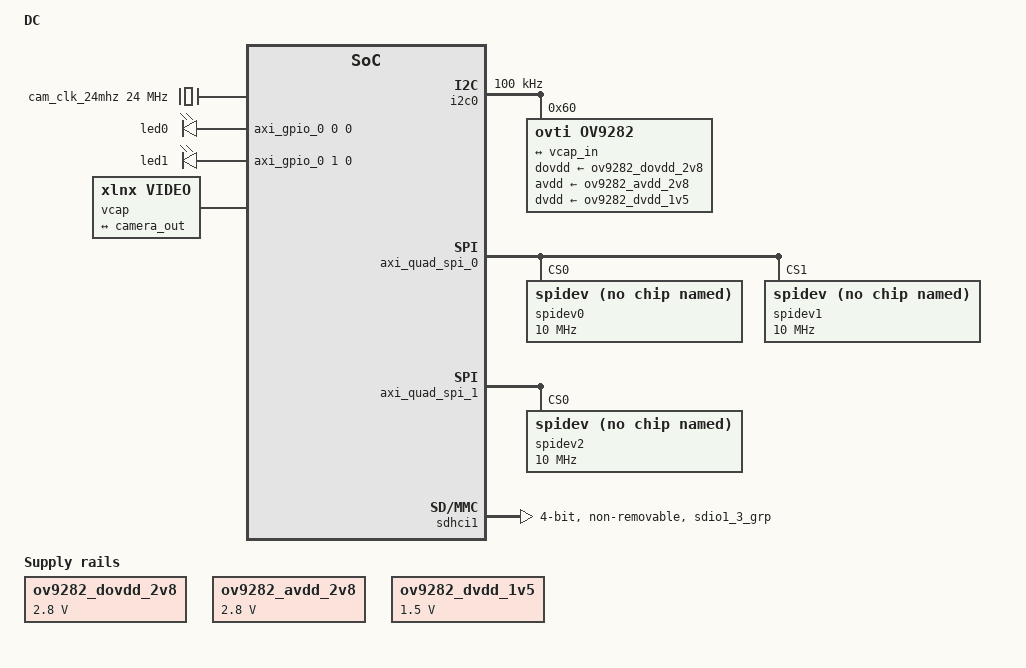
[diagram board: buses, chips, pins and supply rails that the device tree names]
#include "dt-bindings/gpio/gpio.h"
#include "dt-bindings/input/linux-event-codes.h"
/ {
    model = "DC";
	chosen {
		bootargs = "console=ttyPS0,115200 earlyprintk root=/dev/mmcblk0p2 rw rootwait debug";
		stdout-path = "serial0:115200n8";
	};

    usb_phy0: phy0@e0002000 {
		compatible = "ulpi-phy";
		#phy-cells = <0>;
		reg = <0xe0002000 0x1000>;
		view-port = <0x0170>;
		drv-vbus;
	};
    cam_clk_24mhz: cam_clk_24mhz {
                compatible = "fixed-clock";
                #clock-cells = <0>;
                clock-frequency = <24000000>; /* 24MHz */
                clock-output-names = "cam_clk_24mhz";
    };
	/* OV9282 专用固定电源：DOVDD 2.8V（数字I/O电压） */
    ov9282_dovdd_2v8: regulator-ov9282-dovdd {
        compatible = "regulator-fixed";  // 固定电压稳压器标识
        regulator-name = "OV9282_DOVDD_2V8";  // 电源名称（便于调试）
        regulator-min-microvolt = <2800000>;  // 最小电压：2.8V（转换为微伏）
        regulator-max-microvolt = <2800000>;  // 最大电压：2.8V（固定电压，与最小一致）
        regulator-boot-on;  // 系统启动时自动使能该电源
        regulator-always-on;  // 电源持续使能，避免摄像头掉电
    };

    /* OV9282 专用固定电源：AVDD 2.8V（模拟电压） */
    ov9282_avdd_2v8: regulator-ov9282-avdd {
        compatible = "regulator-fixed";
        regulator-name = "OV9282_AVDD_2V8";
        regulator-min-microvolt = <2800000>;
        regulator-max-microvolt = <2800000>;
        regulator-boot-on;
        regulator-always-on;
    };

    /* OV9282 专用固定电源：DVDD 1.5V（数字核心电压） */
    ov9282_dvdd_1v5: regulator-ov9282-dvdd {
        compatible = "regulator-fixed";
        regulator-name = "OV9282_DVDD_1V5";
        regulator-min-microvolt = <1500000>;  // 1.5V转换为微伏
        regulator-max-microvolt = <1500000>;
        regulator-boot-on;
        regulator-always-on;
    };
    leds {
        compatible = "gpio-leds";
        
        /* 第一个LED，使用GPIO0的第0个引脚 */
        led0 {
            label = "led0";
            gpios = <&axi_gpio_0 0 0 0>;  /* bank 0, 引脚0, 激活电平0 */
            linux,default-trigger = "heartbeat"; /* 可选：心跳效果 */
            max-brightness = <1>;
	    default-state = "on";
        };
        
        /* 第二个LED，使用GPIO0的第1个引脚 */
        led1 {
            label = "led1";
            gpios = <&axi_gpio_0 1 0 0>;  /* bank 0, 引脚1, 激活电平0 */
            linux,default-trigger = "mmc1"; /* 可选：心跳效果 */
	    max-brightness = <1>;
            default-state = "on";
        };
    };
};

// 1. 定义 pinctrl 控制器节点
// 注意：此节点可能已在你的设备树中存在，通常由硬件设计工具（如Vivado）生成。
// 你需要检查是否已包含，如果已存在，则只需添加第2部分的子节点。
//&slcr { // 假设 slcr 是 SLCR（系统级控制寄存器）的节点标签
//    pinctrl0: pinctrl@700 {
//        compatible = "xlnx,pinctrl-zynq"; // 必须的兼容性字符串[citation:1]
//        reg = <0x700 0x200>;             // 在 SLCR 中的偏移和长度[citation:1]
//        syscon = <&slcr>;                // 指向 SLCR 的 phandle[citation:1]
        // 注意：`syscon` 属性在部分内核版本/代码中可能非必需，请根据你的内核实际情况决定是否添加。

        // 2. 定义 I2C0 的引脚配置子节点
        // 此节点的标签（`pinctrl_i2c0_default`）将用于被 I2C 控制器引用。
        //pinctrl_i2c0_default: i2c0-default {
        //    // 配置 MIO10 和 MIO11 为 I2C0 功能
        //    mux {
        //        groups = "i2c0_0_grp"; // 使用引脚组
        //        function = "i2c0";     // 功能为 I2C0[citation:1]
        //    };
            // 配置引脚的电气参数（可选，但推荐设置以稳定通信）
        //    conf {
        //        groups = "i2c0_0_grp";
        //        slew-rate = <0>;       // 压摆率：0-慢，1-快。I2C建议用慢速（0）
        //        io-standard = <3>;     // IO电平标准：1-LVCMOS18, 2-LVCMOS25, 3-LVCMOS33[citation:1]
        //        bias-pull-up;          // 使能内部上拉（I2C总线通常需要上拉）
        //    };
        //};
	//pinctrl_sdio1_default: sdio1-default {
	//mux {
       	// 根据你的驱动源码，MIO46-51对应的组名为 'sdio1_3_grp'
       	//	groups = "sdio1_3_grp";
        //	function = "sdio1"; // 功能选择为 sdio1
    	//	};
    	//conf {
        //	groups = "sdio1_3_grp";
        	// 配置电气参数（参数值根据你的硬件需求调整）
        //	slew-rate = <0>;       // 压摆率：0-慢，1-快
        //	io-standard = <3>;     // IO电平标准：3-LVCMOS33
        	// bias-pull-up;       // 如需内部上拉，取消注释此行
    	//	};
	//};
//    };
//};

// 3. 将引脚配置应用到 I2C0 控制器
// 找到你的 I2C0 控制器节点（通常是 i2c@e0004000），并添加 pinctrl 引用。
//&i2c0 { // 使用控制器节点的标签
//    status = "okay";
//    clock-frequency = <100000>; // 设置 I2C 总线频率为 100kHz
//    pinctrl-names = "default";  // 状态名称
//    pinctrl-0 = <&pinctrl_i2c0_default>; // 引用上面定义的引脚配置
    // ... 其他配置，如从设备地址等
//};

&i2c0 {
	clock-frequency = <100000>;

    ov9282: camera@60 {
        compatible = "ovti,ov9282";
        reg = <0x60>;
        /* Use 64MHz XCLK for OV9282 DVP operation */
        clocks = <&cam_clk_24mhz>;
        clock-names = "xclk";
        /* Supply property names expected by many OV sensors/drivers */
        dovdd-supply = <&ov9282_dovdd_2v8>;  // 数字I/O：2.8V
        avdd-supply = <&ov9282_avdd_2v8>;    // 模拟电压：2.8V
        dvdd-supply = <&ov9282_dvdd_1v5>;    // 数字核心：1.5V
        port {
            camera_out: endpoint {
                remote-endpoint = <&vcap_in>;
                bus-type    = <5>;
                /* DVP 10-bit */
                bus-width   = <10>;
                /* Keep signal polarities and sample edge as before */
                hsync-active = <0>;
                vsync-active = <0>;
                pclk-sample  = <1>;
            };
        };
    };
};

&amba_pl {
	/* 视频捕获设备 - 连接Camera到VDMA的S2MM通道 */
    vcap {
        compatible = "xlnx,video";
        dmas = <&axi_vdma_0 1>;  
        dma-names = "port0";

        ports {
            #address-cells = <1>;
            #size-cells = <0>;
                port@0 {
                reg = <0>;
                direction = "input";
                vcap_in: endpoint {
                    remote-endpoint = <&camera_out>;
                    /* Match OV9282 DVP 10-bit */
                    bus-width = <10>;
		    bus-type    = <5>;
                };
            };
        };
	};
};

/* SPI devices: BMI088 on spi0, ADXL372 on spi1 */
&axi_quad_spi_0 {
   status = "okay";

    spidev0@0 {
         compatible = "spidev";
         reg = <0>;
         spi-max-frequency = <10000000>;
     };

    spidev1@1 {
         compatible = "spidev";
         reg = <1>;
         spi-max-frequency = <10000000>;
     };
    /* BMI088 IMU attached to SPI chip-select 0 */
//    bmi088_accel@0 {
//        compatible = "bosch,bmi088-accel";
//        reg = <0>;
        /* Typical supported SPI frequency; adjust if needed */
//        spi-max-frequency = <10000000>;
//	spi-cpol;
//        spi-cpha;
//        status = "okay";
//    };
//    bmi088_gyro@1 {
//        compatible = "bosch,bmi088-gyro";
//        reg = <1>; /* CS 编号 */
//        spi-max-frequency = <10000000>;
//        spi-cpol;
//        spi-cpha;
//        status = "okay";
//    };
};


&axi_quad_spi_1 {
    status = "okay";

    spidev2@0 {
         compatible = "spidev";
         reg = <0>;
         spi-max-frequency = <10000000>;
     };

    /* ADXL372 accelerometer attached to SPI chip-select 0 */
//    adxl372@0 {
//        compatible = "adi,adxl372";
//        reg = <0>;
//        spi-max-frequency = <20000000>;
//        status = "okay";
//    };
};

&video_mameger_1{
	interrupt-names = "vid2intc_irpt";
        interrupt-parent = <&intc>;
        interrupts = <0 29 1>;
};

&pinctrl0 {
	sdio1_default: sdio1-default {
            mux {
                groups = "sdio1_3_grp";
                function = "sdio1";
            };

            conf {
                groups = "sdio1_3_grp";
                bias-pull-up;
                low-power-enable;
		};
        };
	sdio1_cd_default: sdio1-cd-default{
		mux {
      			groups = "sdio1_emio_cd";
      			function = "sdio1_cd";
    		};
		conf {
			groups = "sdio1_emio_cd";
			low-power-enable;
		};
	};
};
&sdhci1 {
//    /* SDIO专用配置 */
    bus-width = <4>;                    /* 4位数据总线 */
    max-frequency = <50000000>;         /* 最大50MHz */
    non-removable;                      /* 非可移除设备 */
    xlnx,mio-bank = <1>;
//    xlnx,fails-without-test-cd;
    broken-cd;
    keep-power-in-suspend;
//    cap-sd-highspeed;                   /* 支持高速SD */
//    cap-mmc-highspeed;                  /* 支持高速MMC */
//    cap-sdio-irq;                       /* 支持SDIO中断 */
    disable-wp;                         /* 禁用写保护检测 */
    pinctrl-names = "default";
    pinctrl-0 = <&sdio1_default>;
//   
};

//&axi_bram_ctrl_0{
//	compatible = "generic-uio";
//}

